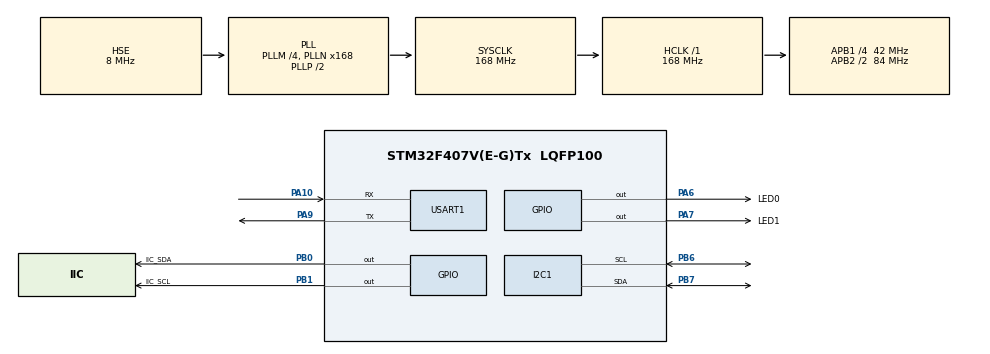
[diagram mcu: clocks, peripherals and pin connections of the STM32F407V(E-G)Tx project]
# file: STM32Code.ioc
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Mcu.Family=STM32F4
Mcu.Name=STM32F407V(E-G)Tx
Mcu.Package=LQFP100
NVIC.PriorityGroup=NVIC_PRIORITYGROUP_4
NVIC.USART1_IRQn=true\:0\:0\:false\:false\:true\:true\:true
PA10.Mode=Asynchronous
PA10.Signal=USART1_RX
PA6.GPIO_Label=LED0
PA6.Signal=GPIO_Output
PA7.GPIO_Label=LED1
PA7.Signal=GPIO_Output
PA9.Mode=Asynchronous
PA9.Signal=USART1_TX
PB0.GPIO_Label=IIC_SDA
PB0.GPIO_PuPd=GPIO_PULLDOWN
PB0.GPIO_Speed=GPIO_SPEED_FREQ_MEDIUM
PB0.Signal=GPIO_Output
PB1.GPIO_Label=IIC_SCL
PB1.GPIO_PuPd=GPIO_PULLDOWN
PB1.GPIO_Speed=GPIO_SPEED_FREQ_MEDIUM
PB1.Signal=GPIO_Output
PB6.Mode=I2C
PB6.Signal=I2C1_SCL
PB7.Mode=I2C
PB7.Signal=I2C1_SDA
PC14-OSC32_IN.Mode=LSE-External-Oscillator
PC14-OSC32_IN.Signal=RCC_OSC32_IN
PC15-OSC32_OUT.Mode=LSE-External-Oscillator
PC15-OSC32_OUT.Signal=RCC_OSC32_OUT
PH0-OSC_IN.Mode=HSE-External-Oscillator
PH0-OSC_IN.Signal=RCC_OSC_IN
PH1-OSC_OUT.Mode=HSE-External-Oscillator
PH1-OSC_OUT.Signal=RCC_OSC_OUT
ProjectManager.HeapSize=0x1000
ProjectManager.StackSize=0x1000
ProjectManager.TargetToolchain=MDK-ARM V5.27
RCC.48MHZClocksFreq_Value=84000000
RCC.AHBFreq_Value=168000000
RCC.APB1CLKDivider=RCC_HCLK_DIV4
RCC.APB1Freq_Value=42000000
RCC.APB1TimFreq_Value=84000000
RCC.APB2CLKDivider=RCC_HCLK_DIV2
RCC.APB2Freq_Value=84000000
RCC.APB2TimFreq_Value=168000000
RCC.CortexFreq_Value=168000000
RCC.EnbaleCSS=true
RCC.HCLKFreq_Value=168000000
RCC.HSE_VALUE=8000000
RCC.HSI_VALUE=16000000
RCC.PLLM=4
RCC.PLLN=168
RCC.PLLSourceVirtual=RCC_PLLSOURCE_HSE
RCC.SYSCLKFreq_VALUE=168000000
RCC.SYSCLKSource=RCC_SYSCLKSOURCE_PLLCLK
RCC.VCOOutputFreq_Value=336000000
USART1.VirtualMode=VM_ASYNC
board=custom

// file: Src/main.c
/* USER CODE BEGIN Header */
/**
  ******************************************************************************
  * @file           : main.c
  * @brief          : Main program body
  ******************************************************************************
  * @attention
  *
  * <h2><center>&copy; Copyright (c) 2020 STMicroelectronics.
  * All rights reserved.</center></h2>
  *
  * This software component is licensed by ST under BSD 3-Clause license,
  * the "License"; You may not use this file except in compliance with the
  * License. You may obtain a copy of the License at:
  *                        opensource.org/licenses/BSD-3-Clause
  *
  ******************************************************************************
  */
/* USER CODE END Header */

#include "main.h"

/* USER CODE BEGIN Includes */

#include "oled.h"
#include "bmp.h"

/* USER CODE END Includes */

I2C_HandleTypeDef hi2c1;

UART_HandleTypeDef huart1;

void SystemClock_Config(void);
static void MX_GPIO_Init(void);
static void MX_I2C1_Init(void);
static void MX_USART1_UART_Init(void);

int main(void)
{
  /* USER CODE BEGIN 1 */
    u8 t;
  /* USER CODE END 1 */

  /* MCU Configuration--------------------------------------------------------*/

  /* Reset of all peripherals, Initializes the Flash interface and the Systick. */
  HAL_Init();

  /* Configure the system clock */
  SystemClock_Config();

  /* Initialize all configured peripherals */
  MX_GPIO_Init();
  MX_I2C1_Init();
  MX_USART1_UART_Init();
  /* USER CODE BEGIN 2 */

    OLEDInit();
    OLED_Clear();
    t=' ';

    OLED_ShowCHinese(18,0,3);//电
    OLED_ShowCHinese(36,0,4);//子
    OLED_ShowCHinese(72,0,5);//科
    OLED_ShowCHinese(90,0,6);//技

  /* USER CODE END 2 */

  /* Infinite loop */
  while (1)
  {

    /* USER CODE BEGIN 3 */
		OLED_Clear();
		OLED_ShowCHinese(18,0,3);//电
		OLED_ShowCHinese(36,0,4);//子
		OLED_ShowCHinese(72,0,5);//科
		OLED_ShowCHinese(90,0,6);//技
		OLED_ShowString(6,3,"0.96' OLED TEST",16);

		OLED_ShowString(0,6,"ASCII:",16);
		OLED_ShowString(63,6,"CODE:",16);
		OLED_ShowChar(48,6,t,16);//显示ASCII字符
		t++;
		if(t>'~')t=' ';
		OLED_ShowNum(103,6,t,3,16);//显示ASCII字符的码值
		HAL_Delay(5000);
		OLED_DrawBMP(0,0,128,8,BMP1);  //图片显示(图片显示慎用，生成的字表较大，会占用较多空间，FLASH空间8K以下慎用)
		HAL_Delay(5000);
  }
  /* USER CODE END 3 */
}

void SystemClock_Config(void)
{
  RCC_OscInitTypeDef RCC_OscInitStruct = {0};
  RCC_ClkInitTypeDef RCC_ClkInitStruct = {0};

  /** Configure the main internal regulator output voltage
  */
  __HAL_RCC_PWR_CLK_ENABLE();
  __HAL_PWR_VOLTAGESCALING_CONFIG(PWR_REGULATOR_VOLTAGE_SCALE1);
  /** Initializes the CPU, AHB and APB busses clocks
  */
  RCC_OscInitStruct.OscillatorType = RCC_OSCILLATORTYPE_HSE;
  RCC_OscInitStruct.HSEState = RCC_HSE_ON;
  RCC_OscInitStruct.PLL.PLLState = RCC_PLL_ON;
  RCC_OscInitStruct.PLL.PLLSource = RCC_PLLSOURCE_HSE;
  RCC_OscInitStruct.PLL.PLLM = 4;
  RCC_OscInitStruct.PLL.PLLN = 168;
  RCC_OscInitStruct.PLL.PLLP = RCC_PLLP_DIV2;
  RCC_OscInitStruct.PLL.PLLQ = 4;
  if (HAL_RCC_OscConfig(&RCC_OscInitStruct) != HAL_OK)
  {
    Error_Handler();
  }
  /** Initializes the CPU, AHB and APB busses clocks
  */
  RCC_ClkInitStruct.ClockType = RCC_CLOCKTYPE_HCLK|RCC_CLOCKTYPE_SYSCLK
                              |RCC_CLOCKTYPE_PCLK1|RCC_CLOCKTYPE_PCLK2;
  RCC_ClkInitStruct.SYSCLKSource = RCC_SYSCLKSOURCE_PLLCLK;
  RCC_ClkInitStruct.AHBCLKDivider = RCC_SYSCLK_DIV1;
  RCC_ClkInitStruct.APB1CLKDivider = RCC_HCLK_DIV4;
  RCC_ClkInitStruct.APB2CLKDivider = RCC_HCLK_DIV2;

  if (HAL_RCC_ClockConfig(&RCC_ClkInitStruct, FLASH_LATENCY_5) != HAL_OK)
  {
    Error_Handler();
  }
  /** Enables the Clock Security System
  */
  HAL_RCC_EnableCSS();
}

static void MX_I2C1_Init(void)
{

  hi2c1.Instance = I2C1;
  hi2c1.Init.ClockSpeed = 100000;
  hi2c1.Init.DutyCycle = I2C_DUTYCYCLE_2;
  hi2c1.Init.OwnAddress1 = 0;
  hi2c1.Init.AddressingMode = I2C_ADDRESSINGMODE_7BIT;
  hi2c1.Init.DualAddressMode = I2C_DUALADDRESS_DISABLE;
  hi2c1.Init.OwnAddress2 = 0;
  hi2c1.Init.GeneralCallMode = I2C_GENERALCALL_DISABLE;
  hi2c1.Init.NoStretchMode = I2C_NOSTRETCH_DISABLE;
  if (HAL_I2C_Init(&hi2c1) != HAL_OK)
  {
    Error_Handler();
  }

}

static void MX_USART1_UART_Init(void)
{

  huart1.Instance = USART1;
  huart1.Init.BaudRate = 115200;
  huart1.Init.WordLength = UART_WORDLENGTH_8B;
  huart1.Init.StopBits = UART_STOPBITS_1;
  huart1.Init.Parity = UART_PARITY_NONE;
  huart1.Init.Mode = UART_MODE_TX_RX;
  huart1.Init.HwFlowCtl = UART_HWCONTROL_NONE;
  huart1.Init.OverSampling = UART_OVERSAMPLING_16;
  if (HAL_UART_Init(&huart1) != HAL_OK)
  {
    Error_Handler();
  }

}

static void MX_GPIO_Init(void)
{
  GPIO_InitTypeDef GPIO_InitStruct = {0};

  /* GPIO Ports Clock Enable */
  __HAL_RCC_GPIOC_CLK_ENABLE();
  __HAL_RCC_GPIOH_CLK_ENABLE();
  __HAL_RCC_GPIOA_CLK_ENABLE();
  __HAL_RCC_GPIOB_CLK_ENABLE();

  /*Configure GPIO pin Output Level */
  HAL_GPIO_WritePin(GPIOA, LED0_Pin|LED1_Pin, GPIO_PIN_RESET);

  /*Configure GPIO pin Output Level */
  HAL_GPIO_WritePin(GPIOB, IIC_SDA_Pin|IIC_SCL_Pin, GPIO_PIN_RESET);

  /*Configure GPIO pins : LED0_Pin LED1_Pin */
  GPIO_InitStruct.Pin = LED0_Pin|LED1_Pin;
  GPIO_InitStruct.Mode = GPIO_MODE_OUTPUT_PP;
  GPIO_InitStruct.Pull = GPIO_NOPULL;
  GPIO_InitStruct.Speed = GPIO_SPEED_FREQ_HIGH;
  HAL_GPIO_Init(GPIOA, &GPIO_InitStruct);

  /*Configure GPIO pins : IIC_SDA_Pin IIC_SCL_Pin */
  GPIO_InitStruct.Pin = IIC_SDA_Pin|IIC_SCL_Pin;
  GPIO_InitStruct.Mode = GPIO_MODE_OUTPUT_PP;
  GPIO_InitStruct.Pull = GPIO_PULLDOWN;
  GPIO_InitStruct.Speed = GPIO_SPEED_FREQ_HIGH;
  HAL_GPIO_Init(GPIOB, &GPIO_InitStruct);

}

void Error_Handler(void)
{
}

/************************ (C) COPYRIGHT STMicroelectronics *****END OF FILE****/
